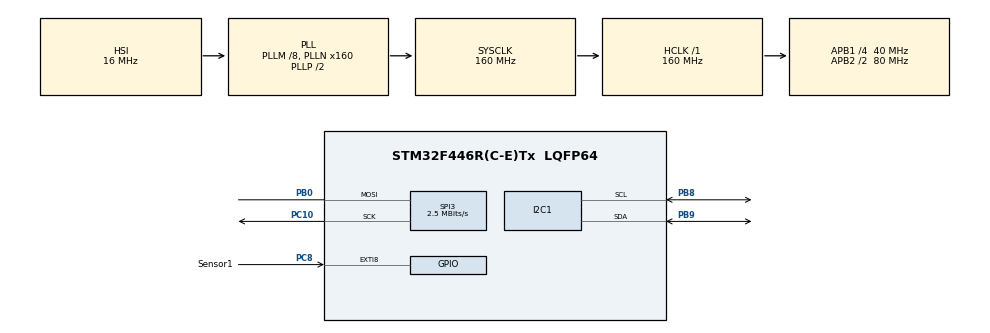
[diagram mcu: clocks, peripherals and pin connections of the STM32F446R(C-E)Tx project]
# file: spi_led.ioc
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I2C1.I2C_Mode=I2C_Fast
Mcu.Family=STM32F4
Mcu.Name=STM32F446R(C-E)Tx
Mcu.Package=LQFP64
NVIC.EXTI9_5_IRQn=true\:0\:0\:false\:false\:true\:true\:true\:true
NVIC.PriorityGroup=NVIC_PRIORITYGROUP_0
PB0.Mode=Simplex_Bidirectional_Master
PB0.Signal=SPI3_MOSI
PB8.Mode=I2C
PB8.Signal=I2C1_SCL
PB9.Mode=I2C
PB9.Signal=I2C1_SDA
PC10.Mode=Simplex_Bidirectional_Master
PC10.Signal=SPI3_SCK
PC8.GPIO_Label=Sensor1
PC8.GPIO_ModeDefaultEXTI=GPIO_MODE_IT_FALLING
PC8.Signal=GPXTI8
PH0-OSC_IN.Mode=HSE-External-Oscillator
PH0-OSC_IN.Signal=RCC_OSC_IN
PH1-OSC_OUT.Mode=HSE-External-Oscillator
PH1-OSC_OUT.Signal=RCC_OSC_OUT
ProjectManager.HeapSize=0x200
ProjectManager.StackSize=0x400
ProjectManager.TargetToolchain=STM32CubeIDE
RCC.48MHZClocksFreq_Value=84000000
RCC.AHBFreq_Value=160000000
RCC.APB1CLKDivider=RCC_HCLK_DIV4
RCC.APB1Freq_Value=40000000
RCC.APB1TimFreq_Value=80000000
RCC.APB2CLKDivider=RCC_HCLK_DIV2
RCC.APB2Freq_Value=80000000
RCC.APB2TimFreq_Value=160000000
RCC.CortexFreq_Value=160000000
RCC.FLatency-AdvancedSettings=FLASH_LATENCY_5
RCC.HCLKFreq_Value=160000000
RCC.HSE_VALUE=8000000
RCC.HSI_VALUE=16000000
RCC.PLLM=8
RCC.PLLN=160
RCC.SYSCLKFreq_VALUE=160000000
RCC.SYSCLKSource=RCC_SYSCLKSOURCE_PLLCLK
RCC.USBFreq_Value=160000000
RCC.VCOOutputFreq_Value=320000000
SPI3.BaudRatePrescaler=SPI_BAUDRATEPRESCALER_16
SPI3.CalculateBaudRate=2.5 MBits/s
SPI3.Direction=SPI_DIRECTION_1LINE
SPI3.Mode=SPI_MODE_MASTER
SPI3.VirtualType=VM_MASTER
board=NUCLEO-F446RE

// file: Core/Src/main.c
/* USER CODE BEGIN Header */
/**
  ******************************************************************************
  * @file           : main.c
  * @brief          : Main program body
  ******************************************************************************
  * @attention
  *
  * Copyright (c) 2024 STMicroelectronics.
  * All rights reserved.
  *
  * This software is licensed under terms that can be found in the LICENSE file
  * in the root directory of this software component.
  * If no LICENSE file comes with this software, it is provided AS-IS.
  *
  ******************************************************************************
  */
/* USER CODE END Header */
#include "main.h"

/* USER CODE BEGIN Includes */

#include "WS2812_SPI.h"
#include "ssd1306.h"

/* USER CODE END Includes */

I2C_HandleTypeDef hi2c1;

SPI_HandleTypeDef hspi3;

void SystemClock_Config(void);
static void MX_GPIO_Init(void);
static void MX_SPI3_Init(void);
static void MX_I2C1_Init(void);
/* USER CODE BEGIN PFP */
uint8_t mode = 0;

/* USER CODE END PFP */

/* USER CODE BEGIN 0 */

void led(int var)
{

	switch (var)
	{
	case 1:
		rainbow();
		break;
	case 2:
		spectrum();
		break;
	case 3:
		fade();
		break;
	case 4:
		rain();
		break;

	default:
		off();
		break;

	}
}

void HAL_GPIO_EXTI_Callback(uint16_t GPIO_Pin)
{
	/* Prevent unused argument(s) compilation warning */
	  UNUSED(GPIO_Pin);
	  /* NOTE: This function Should not be modified, when the callback is needed,
			   the HAL_GPIO_EXTI_Callback could be implemented in the user file
	   */
	  if (GPIO_Pin == Sensor1_Pin)
	  {
		  mode++;

		  if (mode > 4){mode = 0;}

	  }
}

/* USER CODE END 0 */

int main(void)
{

  /* MCU Configuration--------------------------------------------------------*/

  /* Reset of all peripherals, Initializes the Flash interface and the Systick. */
  HAL_Init();

  /* Configure the system clock */
  SystemClock_Config();

  /* Initialize all configured peripherals */
  MX_GPIO_Init();
  MX_SPI3_Init();
  MX_I2C1_Init();
  /* USER CODE BEGIN 2 */

  // Initialize Display
  SSD1306_Init();
  SSD1306_GotoXY(50,20);
  SSD1306_Puts ("IEEE", &Font_11x18, 1);
  SSD1306_UpdateScreen();
  HAL_Delay(1000);
  SSD1306_Clear();

  /* USER CODE END 2 */

  /* Infinite loop */
  while (1)
  {

    /* USER CODE BEGIN 3 */
	  if(mode == 0)
	  {
		  SSD1306_Clear();
		  SSD1306_GotoXY(50,20);
		  SSD1306_Puts ("Off", &Font_11x18, 1);
		  SSD1306_UpdateScreen();
		  led(0);
	  }else if(mode == 1)
	  {
		  SSD1306_Clear();
		  SSD1306_GotoXY(30,20);
		  SSD1306_Puts ("Rainbow", &Font_11x18, 1);
		  SSD1306_UpdateScreen();
		  led(1);
	  }else if(mode == 2)
	  {
		  SSD1306_Clear();
		  SSD1306_GotoXY(30,20);
		  SSD1306_Puts ("Spectrum", &Font_11x18, 1);
		  SSD1306_UpdateScreen();
		  led(2);
	  }else if(mode == 3)
	  {
		  SSD1306_Clear();
		  SSD1306_GotoXY(30,20);
		  SSD1306_Puts ("Fade", &Font_11x18, 1);
		  SSD1306_UpdateScreen();
		  led(3);
	  }
	  else if(mode == 4)
	  {
		  SSD1306_Clear();
		  SSD1306_GotoXY(30,20);
		  SSD1306_Puts ("Rain", &Font_11x18, 1);
		  SSD1306_UpdateScreen();
		  led(4);
	  }

  }
  /* USER CODE END 3 */
}

void SystemClock_Config(void)
{
  RCC_OscInitTypeDef RCC_OscInitStruct = {0};
  RCC_ClkInitTypeDef RCC_ClkInitStruct = {0};

  /** Configure the main internal regulator output voltage
  */
  __HAL_RCC_PWR_CLK_ENABLE();
  __HAL_PWR_VOLTAGESCALING_CONFIG(PWR_REGULATOR_VOLTAGE_SCALE1);

  /** Initializes the RCC Oscillators according to the specified parameters
  * in the RCC_OscInitTypeDef structure.
  */
  RCC_OscInitStruct.OscillatorType = RCC_OSCILLATORTYPE_HSI;
  RCC_OscInitStruct.HSIState = RCC_HSI_ON;
  RCC_OscInitStruct.HSICalibrationValue = RCC_HSICALIBRATION_DEFAULT;
  RCC_OscInitStruct.PLL.PLLState = RCC_PLL_ON;
  RCC_OscInitStruct.PLL.PLLSource = RCC_PLLSOURCE_HSI;
  RCC_OscInitStruct.PLL.PLLM = 8;
  RCC_OscInitStruct.PLL.PLLN = 160;
  RCC_OscInitStruct.PLL.PLLP = RCC_PLLP_DIV2;
  RCC_OscInitStruct.PLL.PLLQ = 2;
  RCC_OscInitStruct.PLL.PLLR = 2;
  if (HAL_RCC_OscConfig(&RCC_OscInitStruct) != HAL_OK)
  {
    Error_Handler();
  }

  /** Initializes the CPU, AHB and APB buses clocks
  */
  RCC_ClkInitStruct.ClockType = RCC_CLOCKTYPE_HCLK|RCC_CLOCKTYPE_SYSCLK
                              |RCC_CLOCKTYPE_PCLK1|RCC_CLOCKTYPE_PCLK2;
  RCC_ClkInitStruct.SYSCLKSource = RCC_SYSCLKSOURCE_PLLCLK;
  RCC_ClkInitStruct.AHBCLKDivider = RCC_SYSCLK_DIV1;
  RCC_ClkInitStruct.APB1CLKDivider = RCC_HCLK_DIV4;
  RCC_ClkInitStruct.APB2CLKDivider = RCC_HCLK_DIV2;

  if (HAL_RCC_ClockConfig(&RCC_ClkInitStruct, FLASH_LATENCY_5) != HAL_OK)
  {
    Error_Handler();
  }
}

static void MX_I2C1_Init(void)
{

  hi2c1.Instance = I2C1;
  hi2c1.Init.ClockSpeed = 400000;
  hi2c1.Init.DutyCycle = I2C_DUTYCYCLE_2;
  hi2c1.Init.OwnAddress1 = 0;
  hi2c1.Init.AddressingMode = I2C_ADDRESSINGMODE_7BIT;
  hi2c1.Init.DualAddressMode = I2C_DUALADDRESS_DISABLE;
  hi2c1.Init.OwnAddress2 = 0;
  hi2c1.Init.GeneralCallMode = I2C_GENERALCALL_DISABLE;
  hi2c1.Init.NoStretchMode = I2C_NOSTRETCH_DISABLE;
  if (HAL_I2C_Init(&hi2c1) != HAL_OK)
  {
    Error_Handler();
  }

}

static void MX_SPI3_Init(void)
{

  /* SPI3 parameter configuration*/
  hspi3.Instance = SPI3;
  hspi3.Init.Mode = SPI_MODE_MASTER;
  hspi3.Init.Direction = SPI_DIRECTION_1LINE;
  hspi3.Init.DataSize = SPI_DATASIZE_8BIT;
  hspi3.Init.CLKPolarity = SPI_POLARITY_LOW;
  hspi3.Init.CLKPhase = SPI_PHASE_1EDGE;
  hspi3.Init.NSS = SPI_NSS_SOFT;
  hspi3.Init.BaudRatePrescaler = SPI_BAUDRATEPRESCALER_16;
  hspi3.Init.FirstBit = SPI_FIRSTBIT_MSB;
  hspi3.Init.TIMode = SPI_TIMODE_DISABLE;
  hspi3.Init.CRCCalculation = SPI_CRCCALCULATION_DISABLE;
  hspi3.Init.CRCPolynomial = 10;
  if (HAL_SPI_Init(&hspi3) != HAL_OK)
  {
    Error_Handler();
  }

}

static void MX_GPIO_Init(void)
{
  GPIO_InitTypeDef GPIO_InitStruct = {0};

  /* GPIO Ports Clock Enable */
  __HAL_RCC_GPIOH_CLK_ENABLE();
  __HAL_RCC_GPIOB_CLK_ENABLE();
  __HAL_RCC_GPIOC_CLK_ENABLE();

  /*Configure GPIO pin : Sensor1_Pin */
  GPIO_InitStruct.Pin = Sensor1_Pin;
  GPIO_InitStruct.Mode = GPIO_MODE_IT_FALLING;
  GPIO_InitStruct.Pull = GPIO_NOPULL;
  HAL_GPIO_Init(Sensor1_GPIO_Port, &GPIO_InitStruct);

  /* EXTI interrupt init*/
  HAL_NVIC_SetPriority(EXTI9_5_IRQn, 0, 0);
  HAL_NVIC_EnableIRQ(EXTI9_5_IRQn);

}

void Error_Handler(void)
{
  __disable_irq();
  while (1)
  {
  }
}
